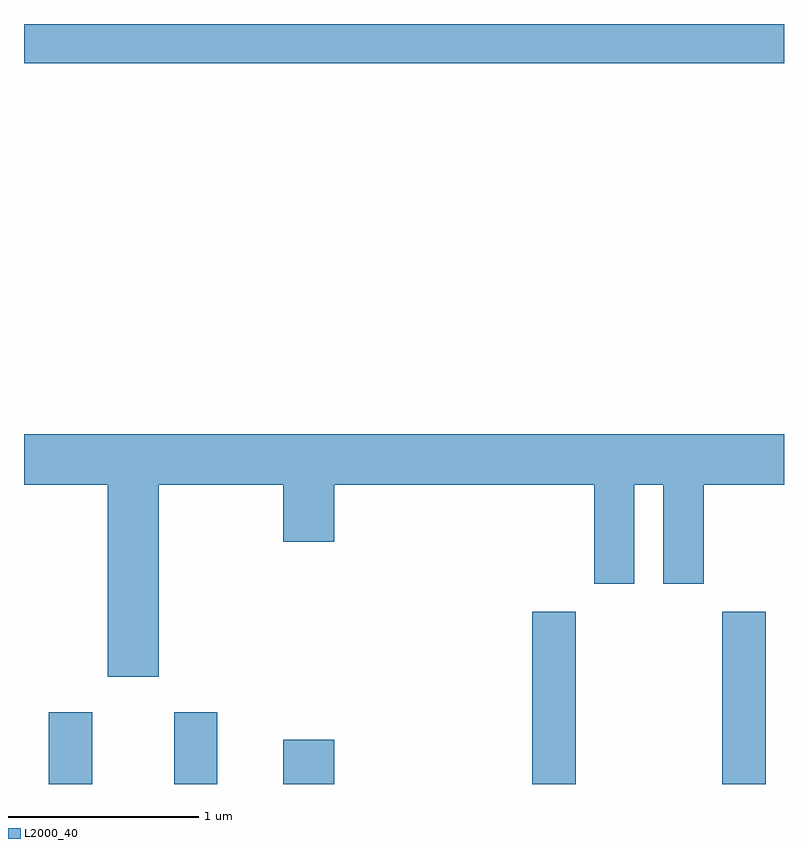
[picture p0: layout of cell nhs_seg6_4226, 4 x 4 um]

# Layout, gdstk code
import gdstk
lib = gdstk.Library(unit=1e-6, precision=1e-09)
def R(c, l, rs):  # rectangles x0, y0, x1, y1
    for r in rs: c.add(gdstk.rectangle(r[:2], r[2:], *l))
def P(c, l, *ps):  # polygons
    for p in ps: c.add(gdstk.Polygon(p, *l))
L2000_40 = (2000, 40)

nhs_seg6_4226 = lib.new_cell('nhs_seg6_4226')
R(nhs_seg6_4226, L2000_40, [(313.741,1626.162,313.969,1626.539), (314.401,1626.162,314.629,1626.539), (314.976,1626.162,315.244,1626.394), (316.286,1626.162,316.514,1627.069), (317.286,1626.162,317.514,1627.069), (313.611,1629.956,317.611,1630.162)])
P(nhs_seg6_4226, L2000_40, [(314.319,1627.736),(314.976,1627.736),(314.976,1627.436),(315.244,1627.436),(315.244,1627.736),(316.611,1627.736),(316.611,1627.216),(316.824,1627.216),(316.824,1627.736),(316.976,1627.736),(316.976,1627.216),(317.189,1627.216),(317.189,1627.736),(317.611,1627.736),(317.611,1628.004),(313.611,1628.004),(313.611,1627.736),(314.051,1627.736),(314.051,1626.726),(314.319,1626.726)])

lib.write_gds('nhs_seg6_4226.gds')
